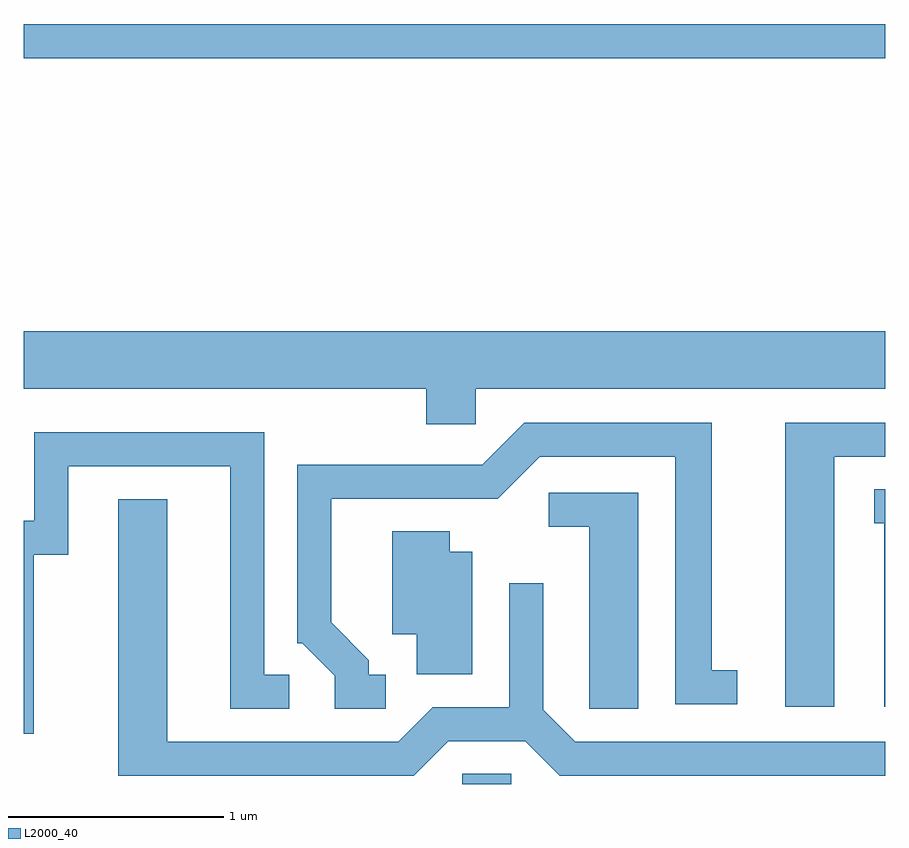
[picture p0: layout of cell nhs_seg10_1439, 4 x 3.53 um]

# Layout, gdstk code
import gdstk
lib = gdstk.Library(unit=1e-6, precision=1e-09)
def R(c, l, rs):  # rectangles x0, y0, x1, y1
    for r in rs: c.add(gdstk.rectangle(r[:2], r[2:], *l))
def P(c, l, *ps):  # polygons
    for p in ps: c.add(gdstk.Polygon(p, *l))
L2000_40 = (2000, 40)

nhs_seg10_1439 = lib.new_cell('nhs_seg10_1439')
R(nhs_seg10_1439, L2000_40, [(229.646,2116.522,229.874,2116.569), (227.611,2119.891,231.611,2120.049)])
P(nhs_seg10_1439, L2000_40, [(229.709,2118.356),(231.611,2118.356),(231.611,2118.624),(227.611,2118.624),(227.611,2118.356),(229.481,2118.356),(229.481,2118.191),(229.709,2118.191)],
  [(231.374,2118.041),(231.611,2118.041),(231.611,2118.199),(231.146,2118.199),(231.146,2116.881),(231.374,2116.881)],
  [(229.293,2117.029),(229.214,2117.029),(229.214,2117.097),(229.039,2117.272),(229.039,2117.846),(229.812,2117.846),(230.007,2118.041),(230.636,2118.041),(230.636,2116.891),(230.923,2116.891),(230.923,2117.049),(230.804,2117.049),(230.804,2118.199),(229.934,2118.199),(229.739,2118.004),(228.881,2118.004),(228.881,2117.176),(228.904,2117.176),(229.056,2117.024),(229.056,2116.871),(229.293,2116.871)],
  [(227.659,2117.586),(227.819,2117.586),(227.819,2117.996),(228.571,2117.996),(228.571,2116.871),(228.843,2116.871),(228.843,2117.029),(228.729,2117.029),(228.729,2118.154),(227.661,2118.154),(227.661,2117.744),(227.611,2117.744),(227.611,2116.756),(227.659,2116.756)],
  [(231.611,2117.889),(231.558,2117.889),(231.558,2117.731),(231.606,2117.731),(231.606,2116.881),(231.611,2116.881)],
  [(230.464,2117.874),(230.048,2117.874),(230.048,2117.716),(230.236,2117.716),(230.236,2116.871),(230.464,2116.871)],
  [(229.582,2116.721),(229.939,2116.721),(230.099,2116.561),(231.611,2116.561),(231.611,2116.719),(230.172,2116.719),(230.024,2116.867),(230.024,2117.453),(229.866,2117.453),(229.866,2116.879),(229.509,2116.879),(229.349,2116.719),(228.279,2116.719),(228.279,2117.844),(228.051,2117.844),(228.051,2116.561),(229.422,2116.561)],
  [(229.694,2117.599),(229.589,2117.599),(229.589,2117.694),(229.321,2117.694),(229.321,2117.216),(229.436,2117.216),(229.436,2117.031),(229.694,2117.031)])

lib.write_gds('nhs_seg10_1439.gds')
